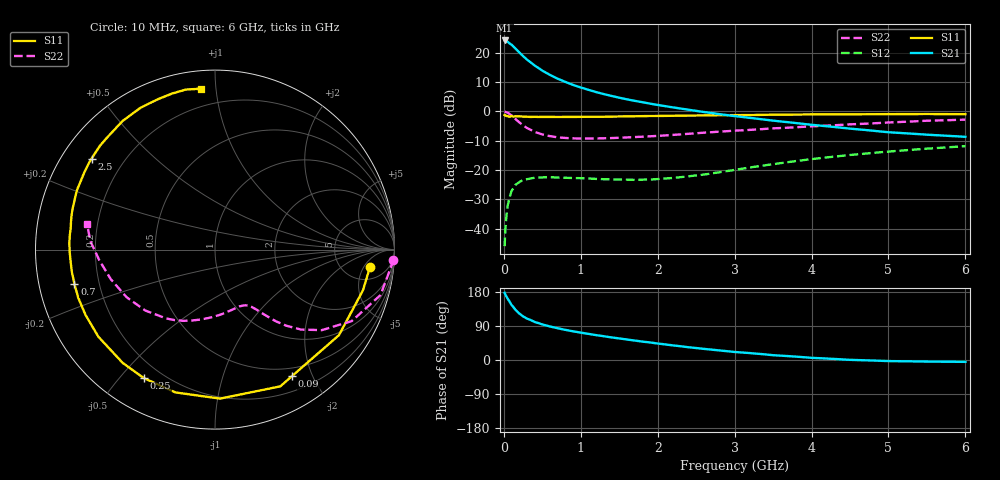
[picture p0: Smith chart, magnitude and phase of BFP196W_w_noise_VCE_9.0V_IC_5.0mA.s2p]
! (c) 2017  Infineon Technologies AG, Munich
! Infineon Technologies  Discrete & RF Semiconductors
! BFP196W
! VCE =  9.0 V,  IC =  5.0 mA
! Common Emitter S-Parameters:  Jan 2017
# GHz  S  MA  R  50
!  f  S11  S21  S12  S22
! GHz  MAG  ANG  MAG  ANG  MAG  ANG  MAG  ANG
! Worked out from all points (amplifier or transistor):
!   77 points, 10 MHz to 6 GHz, reference 50 ohm
!   highest |S21| = 24.3 dB at 10 MHz (marker M1)
!   |S21| within 3 dB of that: start of sweep to 160.4 MHz
!   unconditionally stable (mu >= 1): 1.58 GHz to 3.095 GHz
!   at 130 MHz: K = 0.10, MSG = 24.0 dB, |S12| = -25.9 dB
!   at 2.2 GHz: K = 1.14, MAG = 9.8 dB, |S12| = -22.7 dB
!   at 6 GHz: K = 0.90, MSG = 1.6 dB, |S12| = -11.8 dB
!   lowest NFmin = 0.90 dB at 450 MHz
!   S11 on the Smith chart (normalised r, x): 10 MHz: 9, -7; 90 MHz: 0.39, -1.71; 250 MHz: 0.13, -0.58; 700 MHz: 0.11, -0.12; 2.5 GHz: 0.09, +0.33; 6 GHz: 0.10, +0.91
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0.01  0.869 -6.4  16.36 177.2  0.005 82.5  0.9958 -3.2
0.02  0.855 -15.4  16.16 172.5  0.0097 85.6  0.9831 -6.2
0.05  0.8392 -34.6  15.55 161.6  0.0245 71.5  0.956 -15.4
0.09  0.8253 -58.7  14.11 148.8  0.0397 59.8  0.8754 -25.0
0.1  0.8444 -64.5  13.87 145.2  0.0436 58.2  0.8595 -27.6
0.15  0.8306 -88.1  11.96 132.7  0.0557 46.1  0.7457 -37.0
0.2  0.8257 -105.5  10.24 122.8  0.062 38.6  0.6545 -42.9
0.25  0.8185 -118.9  8.847 115.1  0.0678 32.7  0.5805 -46.9
0.3  0.8143 -129.1  7.713 109.3  0.0698 28.0  0.5232 -49.7
0.4  0.8111 -143.3  6.104 100.4  0.0738 22.3  0.4487 -53.1
0.5  0.808 -153.2  4.99 93.8  0.0749 18.7  0.4057 -55.4
0.6  0.808 -160.6  4.214 88.4  0.0753 16.6  0.3792 -57.4
0.7  0.8061 -166.3  3.633 83.8  0.0745 15.5  0.3619 -59.4
0.9  0.8073 -175.6  2.846 75.7  0.0729 14.3  0.3479 -64.0
1.1  0.8124 177.4  2.344 69.0  0.0717 16.0  0.3457 -69.0
1.5  0.8223 166.1  1.721 56.9  0.0687 20.6  0.3554 -80.4
2.1  0.8413 151.9  1.233 41.1  0.0716 34.9  0.3902 -98.8
2.5  0.8541 143.6  1.025 31.6  0.0808 43.9  0.4247 -111.2
3.1  0.868 132.6  0.806 19.7  0.1054 51.3  0.4773 -128.3
4.1  0.892 116.4  0.576 4.8  0.1589 50.3  0.5656 -154.2
5.1  0.9021 104.3  0.434 -3.1  0.2116 42.4  0.6572 -177.0
6  0.9001 95.1  0.369 -4.9  0.2556 33.8  0.7263 168.8
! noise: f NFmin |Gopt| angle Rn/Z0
0.45  0.9  0.44  123  0.09
0.9  1.32  0.6  159  0.06
1.9  2.72  0.75  -161  0.11
2.4  3.29  0.8  -151  0.28
